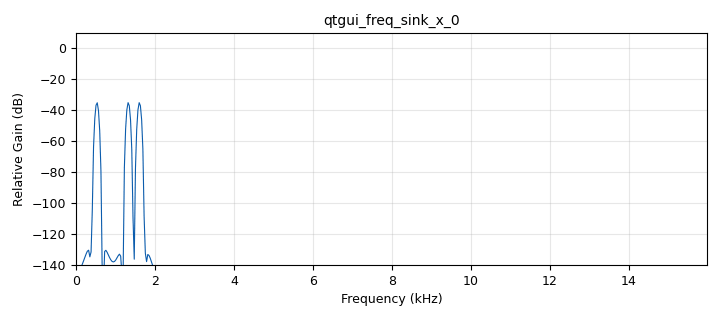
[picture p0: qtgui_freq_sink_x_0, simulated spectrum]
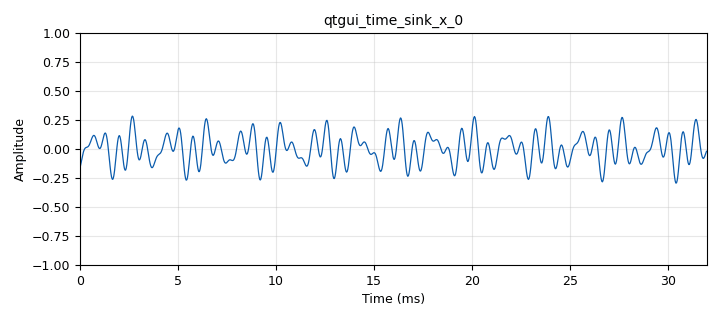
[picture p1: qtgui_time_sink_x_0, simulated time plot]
options:
  parameters:
    generate_options: qt_gui
    id: single_500hz_tone
    output_language: python
    title: Not titled yet
  states: {}

blocks:
- name: freq
  id: variable_qtgui_range
  parameters:
    start: '10'
    step: '10'
    stop: '32000'
    value: '500'
  states: {}
- name: samp_rate
  id: variable
  parameters:
    value: '32000'
  states: {}
- name: analog_sig_source_x_0
  id: analog_sig_source_x
  parameters:
    amp: '0.1'
    freq: '523.25'
    offset: '0'
    phase: '0'
    samp_rate: samp_rate
    type: float
    waveform: analog.GR_COS_WAVE
  states: {}
- name: analog_sig_source_x_0_0
  id: analog_sig_source_x
  parameters:
    amp: '0.1'
    freq: '1600'
    offset: '0'
    phase: '0'
    samp_rate: samp_rate
    type: float
    waveform: analog.GR_COS_WAVE
  states: {}
- name: analog_sig_source_x_0_1
  id: analog_sig_source_x
  parameters:
    amp: '0.1'
    freq: '1318.5'
    offset: '0'
    phase: '0'
    samp_rate: samp_rate
    type: float
    waveform: analog.GR_COS_WAVE
  states: {}
- name: audio_sink_0
  id: audio_sink
  parameters:
    samp_rate: samp_rate
  states: {}
- name: blocks_add_xx_0
  id: blocks_add_xx
  parameters:
    num_inputs: '3'
    type: float
  states: {}
- name: qtgui_freq_sink_x_0
  id: qtgui_freq_sink_x
  parameters:
    bw: samp_rate
    fc: '0'
    fftsize: '1024'
    freqhalf: 'False'
    type: float
  states: {}
- name: qtgui_time_sink_x_0
  id: qtgui_time_sink_x
  parameters:
    size: '1024'
    srate: samp_rate
    type: float
  states: {}

connections:
- [analog_sig_source_x_0, '0', blocks_add_xx_0, '0']
- [analog_sig_source_x_0_0, '0', blocks_add_xx_0, '2']
- [analog_sig_source_x_0_1, '0', blocks_add_xx_0, '1']
- [blocks_add_xx_0, '0', audio_sink_0, '0']
- [blocks_add_xx_0, '0', qtgui_freq_sink_x_0, '0']
- [blocks_add_xx_0, '0', qtgui_time_sink_x_0, '0']

metadata:
  file_format: 1
  grc_version: 3.10.11.0
